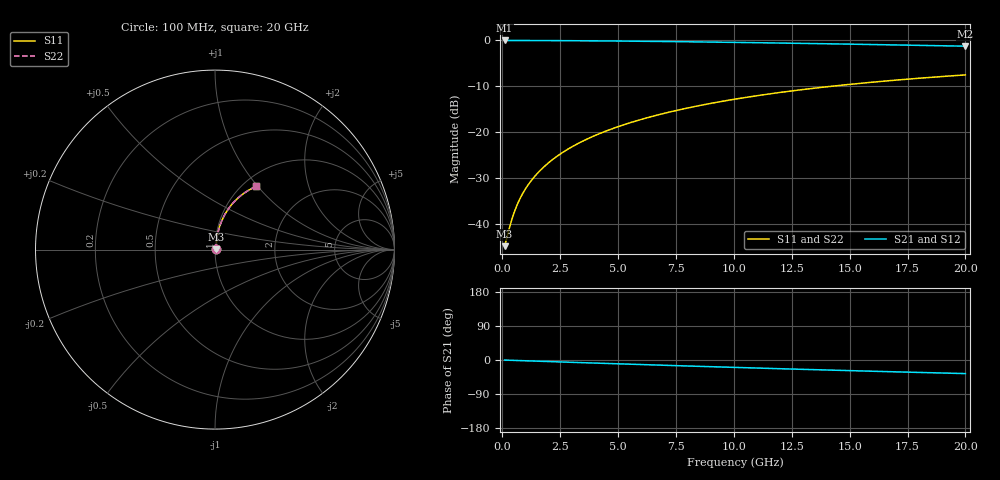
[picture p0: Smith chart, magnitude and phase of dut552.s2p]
! Touchstone file exported from HFSS 2024.1.0
!  File:  C:/UserFiles/LocalFiles/RDL_TSV_Batchsim/temp_RDL_bottom_552_1779689418.aedt
!  Generated:  02:12:50 PM May 25, 2026
!  Design:  RDL_bottom
!  Project:  temp_RDL_bottom_552_1779689418
!  Setup:  Setup1
!  Solution:  Sweep
! Variables:
!  dtsv = 10.80580581um
!  hbump = 3um
!  htsv = 72.06um
!  ldown = 426.08um
!  lrdl = 100um
!  p = 40
!  p1 = 50.63um
!  rhole = 1um
!  t = 450um
!  tdown = 2.13um
!  trdl = 3.915915916um
!  wdown = 14.12um
!  wrdl = 20um
# GHz S MA R 50.000000
! Terminal data exported
! Port[1] = RDL1_T1
! Port[2] = RDL1_T2
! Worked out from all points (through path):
!   200 points, 100 MHz to 20 GHz, reference 50 ohm
!   highest |S21| = -0.05 dB at 100 MHz (marker M1); lowest = -1.3 dB at 20 GHz (marker M2)
!   group delay of S21, straight-line fit = 4.98 ps
!   lowest |S11| = -44.8 dB at 100 MHz (marker M3), VSWR 1.01, Z = 50.5 + j0.242 ohm
!   |S11| at or under -10 dB: start of sweep to 14.25 GHz
!   |S22| runs from -44.8 to -7.5 dB; largest |S21 - S12| = 2e-15
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0.1  0.005744 24.6  0.9948 -0.2  0.9948 -0.2  0.005744 24.6
! Gamma 0 0 0 0
! Port Impedance 50 0 50 0
0.4  0.01097 60.0  0.9945 -0.8  0.9945 -0.8  0.01097 60.0
0.5  0.0131 64.6  0.9944 -1.1  0.9944 -1.1  0.0131 64.6
0.6  0.01528 67.8  0.9942 -1.3  0.9942 -1.3  0.01528 67.8
0.7  0.01748 70.1  0.9941 -1.5  0.9941 -1.5  0.01748 70.1
0.9  0.0219 73.4  0.9937 -1.9  0.9937 -1.9  0.0219 73.4
1.2  0.02857 76.2  0.9932 -2.5  0.9932 -2.5  0.02857 76.2
1.4  0.03302 77.4  0.9928 -2.9  0.9928 -2.9  0.03302 77.4
1.7  0.03973 78.6  0.9922 -3.5  0.9922 -3.5  0.03973 78.6
2.2  0.05096 79.8  0.991 -4.5  0.991 -4.5  0.05096 79.8
2.8  0.06452 80.3  0.9893 -5.7  0.9893 -5.7  0.06452 80.3
3.5  0.08043 80.4  0.987 -7.1  0.987 -7.1  0.08043 80.4
4.2  0.0964 80.1  0.9842 -8.5  0.9842 -8.5  0.0964 80.1
5  0.1147 79.4  0.9805 -10.1  0.9805 -10.1  0.1147 79.4
5.9  0.1353 78.5  0.9758 -11.9  0.9758 -11.9  0.1353 78.4
6.8  0.1559 77.3  0.9705 -13.6  0.9705 -13.6  0.1558 77.3
8.4  0.1921 75.1  0.9601 -16.6  0.9601 -16.6  0.192 75.1
10.1  0.2298 72.5  0.9477 -19.7  0.9477 -19.7  0.2297 72.5
11.7  0.2642 69.9  0.9351 -22.5  0.9351 -22.5  0.2641 69.9
13.4  0.2993 67.2  0.921 -25.4  0.921 -25.4  0.2993 67.2
16.7  0.3629 62.0  0.8919 -30.8  0.8919 -30.8  0.3628 62.0
20  0.4196 57.0  0.8619 -35.9  0.8619 -35.9  0.4195 57.0
